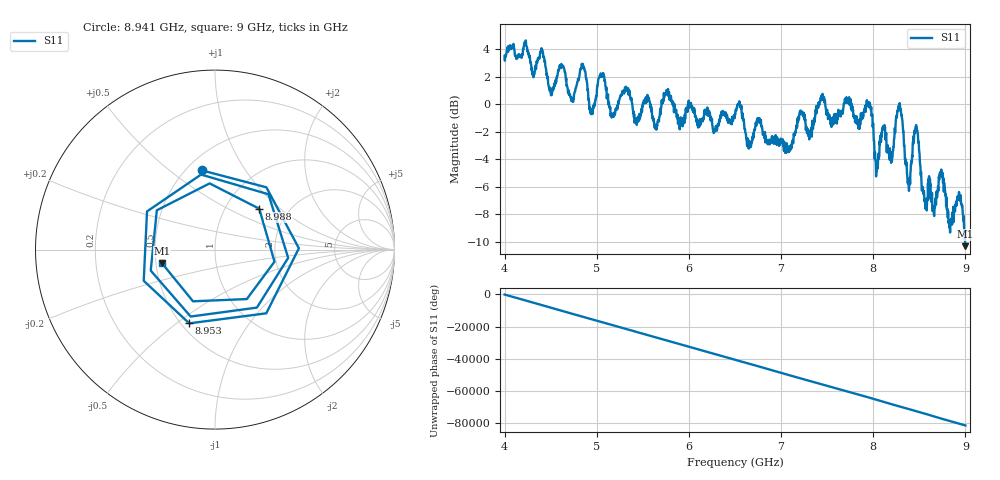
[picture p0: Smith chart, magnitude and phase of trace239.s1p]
! Created with skrf 1.8.0 (http://scikit-rf.org).
# Hz S RI R 50.0
!freq ReS11 ImS11
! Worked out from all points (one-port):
!   1601 points, 4 GHz to 9 GHz, reference 50 ohm
!   lowest |S11| = -10.3 dB at 9 GHz (marker M1), VSWR 1.88, Z = 27 - j4.55 ohm
!   |S11| at or under -10 dB: 8.99634 GHz to end of sweep
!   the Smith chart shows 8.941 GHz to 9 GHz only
!   S11 on the Smith chart (normalised r, x): 8.941 GHz: 0.60, +0.66; 8.953 GHz: 0.55, -0.56; 8.988 GHz: 1.43, +0.74; 9 GHz: 0.54, -0.09
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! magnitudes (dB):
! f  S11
! 4 GHz  3.5
! 4.406 GHz  4.0
! 4.509 GHz  0.8
! 4.625 GHz  2.8
! 4.725 GHz  0.2
! 4.853 GHz  2.6
! 4.944 GHz  -0.7
! 5.05 GHz  2.2
! 5.169 GHz  -0.8
! 5.25 GHz  0.5
! 5.875 GHz  -1.0
! 6.5 GHz  -0.7
! 7.125 GHz  -2.6
! 7.75 GHz  0.3
! 7.953 GHz  -0.2
! 8.041 GHz  -4.6
! 8.112 GHz  -1.8
! 8.2 GHz  -4.2
! 8.288 GHz  0.1
! 8.375 GHz  -5.7
! 8.462 GHz  -1.6
! 8.566 GHz  -7.6
! 8.738 GHz  -4.7
! 8.831 GHz  -8.9
! 8.941 GHz  -7.0
! 8.953 GHz  -7.2
! 8.988 GHz  -9.5
! 9 GHz  -10.3
